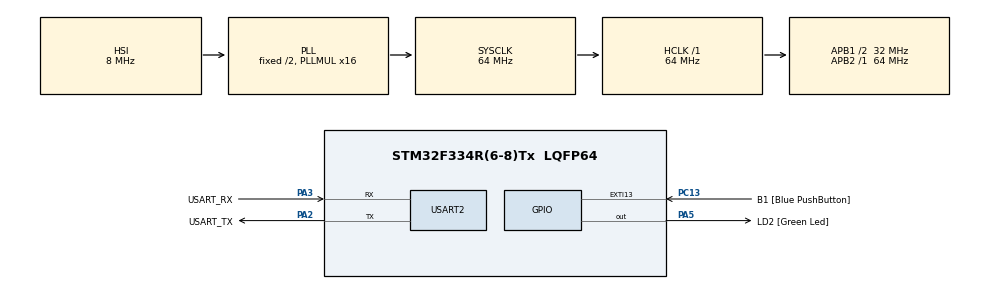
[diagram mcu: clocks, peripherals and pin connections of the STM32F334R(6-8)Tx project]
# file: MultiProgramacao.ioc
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FREERTOS.Mutexes01=mtxSensores,Dynamic,NULL;mtxResultado,Dynamic,NULL
FREERTOS.Tasks01=taskLeitura,0,128,StartTaskLeitura,Default,NULL,Dynamic,NULL,NULL;taskMin,-3,128,StartTaskMin,Default,NULL,Dynamic,NULL,NULL;taskMax,-3,128,StartTask03,Default,NULL,Dynamic,NULL,NULL;taskMed,-3,128,StartTaskMed,Default,NULL,Dynamic,NULL,NULL;taskEscrita,-3,128,StartTaskEscrita,Default,NULL,Dynamic,NULL,NULL
FREERTOS.configTOTAL_HEAP_SIZE=5000
Mcu.Family=STM32F3
Mcu.Name=STM32F334R(6-8)Tx
Mcu.Package=LQFP64
NVIC.PriorityGroup=NVIC_PRIORITYGROUP_4
PA13.GPIO_Label=TMS
PA13.Mode=Serial_Wire
PA13.Signal=SYS_JTMS-SWDIO
PA14.GPIO_Label=TCK
PA14.Mode=Serial_Wire
PA14.Signal=SYS_JTCK-SWCLK
PA2.GPIO_Label=USART_TX
PA2.Mode=Asynchronous
PA2.Signal=USART2_TX
PA3.GPIO_Label=USART_RX
PA3.Mode=Asynchronous
PA3.Signal=USART2_RX
PA5.GPIO_Label=LD2 [Green Led]
PA5.Signal=GPIO_Output
PB3.GPIO_Label=SWO
PB3.Signal=SYS_JTDO-TRACESWO
PC13.GPIO_Label=B1 [Blue PushButton]
PC13.GPIO_ModeDefaultEXTI=GPIO_MODE_IT_FALLING
PC13.Signal=GPXTI13
PC14\ /\ OSC32_IN.Mode=LSE-External-Oscillator
PC14\ /\ OSC32_IN.Signal=RCC_OSC32_IN
PC15\ /\ OSC32_OUT.GPIO_Label=RCC_OSC32_OUT
PC15\ /\ OSC32_OUT.Mode=LSE-External-Oscillator
PC15\ /\ OSC32_OUT.Signal=RCC_OSC32_OUT
PF0\ /\ OSC_IN.Mode=HSE-External-Clock-Source
PF0\ /\ OSC_IN.Signal=RCC_OSC_IN
PF1\ /\ OSC_OUT.Signal=RCC_OSC_OUT
ProjectManager.HeapSize=0x200
ProjectManager.StackSize=0x400
ProjectManager.TargetToolchain=STM32CubeIDE
RCC.AHBFreq_Value=64000000
RCC.APB1CLKDivider=RCC_HCLK_DIV2
RCC.APB1Freq_Value=32000000
RCC.APB1TimFreq_Value=64000000
RCC.APB2Freq_Value=64000000
RCC.APB2TimFreq_Value=64000000
RCC.CortexFreq_Value=64000000
RCC.FLatency-AdvancedSettings=FLASH_LATENCY_2
RCC.HCLKFreq_Value=64000000
RCC.HSE_VALUE=8000000
RCC.HSI_VALUE=8000000
RCC.PLLMUL=RCC_PLL_MUL16
RCC.SYSCLKFreq_VALUE=64000000
RCC.SYSCLKSourceVirtual=RCC_SYSCLKSOURCE_PLLCLK
USART2.VirtualMode-Asynchronous=VM_ASYNC
VP_FREERTOS_VS_CMSIS_V1.Mode=CMSIS_V1
board=NUCLEO-F334R8

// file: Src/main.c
/* USER CODE BEGIN Header */
/**
 ******************************************************************************
 * @file           : main.c
 * @brief          : Main program body
 ******************************************************************************
 * @attention
 *
 * <h2><center>&copy; Copyright (c) 2019 STMicroelectronics.
 * All rights reserved.</center></h2>
 *
 * This software component is licensed by ST under BSD 3-Clause license,
 * the "License"; You may not use this file except in compliance with the
 * License. You may obtain a copy of the License at:
 *                        opensource.org/licenses/BSD-3-Clause
 *
 ******************************************************************************
 */
/* USER CODE END Header */

#include "main.h"
#include "cmsis_os.h"

/* USER CODE BEGIN Includes */
uint8_t sensorA[10];
uint8_t sensorB[10];
uint8_t resultadoA[3];
uint8_t resultadoB[3];
int posicao;

/* USER CODE END Includes */

UART_HandleTypeDef huart2;

osThreadId taskLeituraHandle;
osThreadId taskMinHandle;
osThreadId taskMaxHandle;
osThreadId taskMedHandle;
osThreadId taskEscritaHandle;
osMutexId mtxSensoresHandle;
osMutexId mtxResultadoHandle;

void SystemClock_Config(void);
static void MX_GPIO_Init(void);
static void MX_USART2_UART_Init(void);
void StartTaskLeitura(void const * argument);
void StartTaskMin(void const * argument);
void StartTask03(void const * argument);
void StartTaskMed(void const * argument);
void StartTaskEscrita(void const * argument);

int main(void) {

	/* MCU Configuration--------------------------------------------------------*/

	/* Reset of all peripherals, Initializes the Flash interface and the Systick. */
	HAL_Init();

	/* Configure the system clock */
	SystemClock_Config();

	/* Initialize all configured peripherals */
	MX_GPIO_Init();
	MX_USART2_UART_Init();

	/* Create the mutex(es) */
	/* definition and creation of mtxSensores */
	osMutexDef(mtxSensores);
	mtxSensoresHandle = osMutexCreate(osMutex(mtxSensores));

	/* definition and creation of mtxResultado */
	osMutexDef(mtxResultado);
	mtxResultadoHandle = osMutexCreate(osMutex(mtxResultado));

	/* Create the thread(s) */
	/* definition and creation of taskLeitura */
	osThreadDef(taskLeitura, StartTaskLeitura, osPriorityNormal, 0, 128);
	taskLeituraHandle = osThreadCreate(osThread(taskLeitura), NULL);

	/* definition and creation of taskMin */
	osThreadDef(taskMin, StartTaskMin, osPriorityIdle, 0, 128);
	taskMinHandle = osThreadCreate(osThread(taskMin), NULL);

	/* definition and creation of taskMax */
	osThreadDef(taskMax, StartTask03, osPriorityIdle, 0, 128);
	taskMaxHandle = osThreadCreate(osThread(taskMax), NULL);

	/* definition and creation of taskMed */
	osThreadDef(taskMed, StartTaskMed, osPriorityIdle, 0, 128);
	taskMedHandle = osThreadCreate(osThread(taskMed), NULL);

	/* definition and creation of taskEscrita */
	osThreadDef(taskEscrita, StartTaskEscrita, osPriorityIdle, 0, 128);
	taskEscritaHandle = osThreadCreate(osThread(taskEscrita), NULL);

	/* Start scheduler */
	osKernelStart();

	/* We should never get here as control is now taken by the scheduler */

	/* Infinite loop */
	while (1) {

	}
}

void SystemClock_Config(void) {
	RCC_OscInitTypeDef RCC_OscInitStruct = { 0 };
	RCC_ClkInitTypeDef RCC_ClkInitStruct = { 0 };

	/** Initializes the CPU, AHB and APB busses clocks
	 */
	RCC_OscInitStruct.OscillatorType = RCC_OSCILLATORTYPE_HSI;
	RCC_OscInitStruct.HSIState = RCC_HSI_ON;
	RCC_OscInitStruct.HSICalibrationValue = RCC_HSICALIBRATION_DEFAULT;
	RCC_OscInitStruct.PLL.PLLState = RCC_PLL_ON;
	RCC_OscInitStruct.PLL.PLLSource = RCC_PLLSOURCE_HSI;
	RCC_OscInitStruct.PLL.PLLMUL = RCC_PLL_MUL16;
	if (HAL_RCC_OscConfig(&RCC_OscInitStruct) != HAL_OK) {
		Error_Handler();
	}
	/** Initializes the CPU, AHB and APB busses clocks
	 */
	RCC_ClkInitStruct.ClockType = RCC_CLOCKTYPE_HCLK | RCC_CLOCKTYPE_SYSCLK
			| RCC_CLOCKTYPE_PCLK1 | RCC_CLOCKTYPE_PCLK2;
	RCC_ClkInitStruct.SYSCLKSource = RCC_SYSCLKSOURCE_PLLCLK;
	RCC_ClkInitStruct.AHBCLKDivider = RCC_SYSCLK_DIV1;
	RCC_ClkInitStruct.APB1CLKDivider = RCC_HCLK_DIV2;
	RCC_ClkInitStruct.APB2CLKDivider = RCC_HCLK_DIV1;

	if (HAL_RCC_ClockConfig(&RCC_ClkInitStruct, FLASH_LATENCY_2) != HAL_OK) {
		Error_Handler();
	}
}

static void MX_USART2_UART_Init(void) {

	huart2.Instance = USART2;
	huart2.Init.BaudRate = 38400;
	huart2.Init.WordLength = UART_WORDLENGTH_8B;
	huart2.Init.StopBits = UART_STOPBITS_1;
	huart2.Init.Parity = UART_PARITY_NONE;
	huart2.Init.Mode = UART_MODE_TX_RX;
	huart2.Init.HwFlowCtl = UART_HWCONTROL_NONE;
	huart2.Init.OverSampling = UART_OVERSAMPLING_16;
	huart2.Init.OneBitSampling = UART_ONE_BIT_SAMPLE_DISABLE;
	huart2.AdvancedInit.AdvFeatureInit = UART_ADVFEATURE_NO_INIT;
	if (HAL_UART_Init(&huart2) != HAL_OK) {
		Error_Handler();
	}

}

static void MX_GPIO_Init(void) {
	GPIO_InitTypeDef GPIO_InitStruct = { 0 };

	/* GPIO Ports Clock Enable */
	__HAL_RCC_GPIOC_CLK_ENABLE()
	;
	__HAL_RCC_GPIOF_CLK_ENABLE()
	;
	__HAL_RCC_GPIOA_CLK_ENABLE()
	;
	__HAL_RCC_GPIOB_CLK_ENABLE()
	;

	/*Configure GPIO pin Output Level */
	HAL_GPIO_WritePin(LD2_GPIO_Port, LD2_Pin, GPIO_PIN_RESET);

	/*Configure GPIO pin : B1_Pin */
	GPIO_InitStruct.Pin = B1_Pin;
	GPIO_InitStruct.Mode = GPIO_MODE_IT_FALLING;
	GPIO_InitStruct.Pull = GPIO_NOPULL;
	HAL_GPIO_Init(B1_GPIO_Port, &GPIO_InitStruct);

	/*Configure GPIO pin : LD2_Pin */
	GPIO_InitStruct.Pin = LD2_Pin;
	GPIO_InitStruct.Mode = GPIO_MODE_OUTPUT_PP;
	GPIO_InitStruct.Pull = GPIO_NOPULL;
	GPIO_InitStruct.Speed = GPIO_SPEED_FREQ_LOW;
	HAL_GPIO_Init(LD2_GPIO_Port, &GPIO_InitStruct);

}

/* USER CODE BEGIN Header_StartTaskLeitura */
uint8_t buffer_test[256];
/**
 * @brief  Function implementing the taskLeitura thread.
 * @param  argument: Not used
 * @retval None
 */
/* USER CODE END Header_StartTaskLeitura */
void StartTaskLeitura(void const * argument) {
	/* USER CODE BEGIN 5 */
	/* Infinite loop */
	for (;;) {

		uint8_t senA[10];
		uint8_t senB[10];

		senA[0] = 2;
		senB[0] = 3;

		osMutexWait(mtxSensoresHandle, 1000);
		for(int i = 0; i < 10; i++){
			senA[i] = senA[i+1];
			senB[i] = senB[i+1];

			posicao = i;

			sensorA[posicao] = senA[i];
			sensorB[posicao] = senB[i];
		}
		osMutexRelease(mtxSensoresHandle);
	}

	osDelay(5000);
	/* USER CODE END 5 */
}

void StartTaskMin(void const * argument) {
	/* USER CODE BEGIN StartTaskMin */
	uint8_t minA;
	uint8_t minB;
	uint8_t senALocal[10];
	uint8_t senBLocal[10];

	/* Infinite loop */
	for (;;) {

		osMutexWait(mtxSensoresHandle, 1000);
			for (int i = 0; i < 10; i++){
				senALocal[i] = sensorA[posicao];
				senBLocal[i] = sensorB[posicao];
				posicao++;
			}
		osMutexRelease(mtxSensoresHandle);

		for (int i = 0; i < 10; i++) {
			if (senALocal[i] < minA) {
				minA = senALocal[i];
			}
			if (senBLocal[i] < minB) {
				minB = senBLocal[i];
			}
		}

		osMutexWait(mtxResultadoHandle, 1000);
		resultadoA[0] = minA;
		resultadoB[0] = minB;
		osMutexRelease(mtxResultadoHandle);

	}
	/* USER CODE END StartTaskMin */
}

void StartTask03(void const * argument) {
	/* USER CODE BEGIN StartTask03 */
	uint8_t maxA;
	uint8_t maxB;
	uint8_t senALocal[10];
	uint8_t senBLocal[10];

	/* Infinite loop */
	for (;;) {
		osMutexWait(mtxSensoresHandle, 1000);
			for (int i = 0; i < 10; i++){
				senALocal[i] = sensorA[posicao];
				senBLocal[i] = sensorB[posicao];
				posicao++;
			}
		osMutexRelease(mtxSensoresHandle);

		for (int i = 0; i < 10; i++) {
			if (senALocal[i] < maxA) {
				maxA = senALocal[i];
			}
			if (senBLocal[i] < maxB) {
				maxB = senBLocal[i];
			}
		}

		osMutexWait(mtxResultadoHandle, 1000);
		resultadoA[1] = maxA;
		resultadoB[1] = maxB;
		osMutexRelease(mtxResultadoHandle);
	}
	/* USER CODE END StartTask03 */
}

void StartTaskMed(void const * argument) {
	/* USER CODE BEGIN StartTaskMed */
	uint8_t medA;
	uint8_t medB;
	uint8_t senALocal[10];
	uint8_t senBLocal[10];

	/* Infinite loop */
	for (;;) {
		osMutexWait(mtxSensoresHandle, 1000);
		for (int i = 0; i < 10; i++){
			senALocal[i] = sensorA[posicao];
			senBLocal[i] = sensorB[posicao];
			posicao++;
		}
		osMutexRelease(mtxSensoresHandle);

		for (int i = 0; i < 10; i++) {
			medA = +senALocal[i];
			medB = +senBLocal[i];
		}
		medA = medA / 10;
		medB = medB / 10;

		osMutexWait(mtxResultadoHandle, 1000);
		resultadoA[2] = medA;
		resultadoB[2] = medB;
		osMutexRelease(mtxResultadoHandle);
	}
	/* USER CODE END StartTaskMed */
}

void StartTaskEscrita(void const * argument) {
	/* USER CODE BEGIN StartTaskEscrita */
	char bufferA[1000];
	char bufferB[1000];
	int LocalA[3];
	int LocalB[3];
	/* Infinite loop */
	for (;;) {

		osMutexWait(mtxResultadoHandle, 1000);
		LocalA[0] = resultadoA[0];
		LocalA[1] = resultadoA[1];
		LocalA[2] = resultadoA[2];

		LocalB[0] = resultadoB[0];
		LocalB[1] = resultadoB[1];
		LocalB[2] = resultadoB[2];
		osMutexRelease(mtxResultadoHandle);

		sprintf(bufferA, "Sensor A:\r\n Min: %d\r\n Max: %d\r\n Med: %d\r\n", LocalA[0], LocalA[1], LocalA[2]);

		HAL_UART_Transmit(&huart2, (uint8_t*)bufferA, 1000, 1000);

		sprintf(bufferB, "Sensor B:\r\n Min: %d\r\n Max: %d\r\n Med: %d\r\n", LocalB[0], LocalB[1], LocalB[2]);

		HAL_UART_Transmit(&huart2, (uint8_t*)bufferB, 1000, 1000);

	}
	/* USER CODE END StartTaskEscrita */
}

void Error_Handler(void) {
}

/************************ (C) COPYRIGHT STMicroelectronics *****END OF FILE****/
